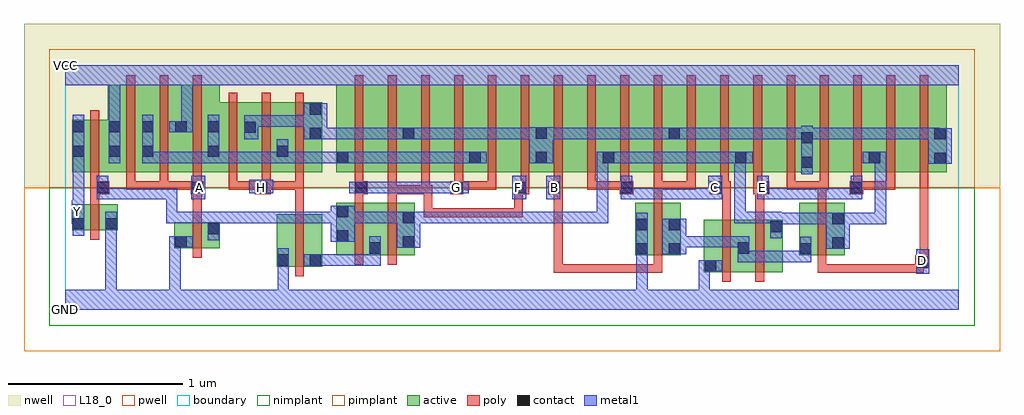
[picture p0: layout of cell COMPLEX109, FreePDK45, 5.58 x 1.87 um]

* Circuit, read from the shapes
.subckt COMPLEX109 A B C D E F G GND H VCC Y
M1 GND n1 Y VSUBS nfet w=0.15u l=0.05u
M2 n1 A GND VSUBS nfet w=0.15u l=0.05u
M3 n2 H GND VSUBS nfet w=0.3u l=0.05u
M4 n2 G n1 VSUBS nfet w=0.3u l=0.05u
M5 n1 F n2 VSUBS nfet w=0.3u l=0.05u
M6 n3 B GND VSUBS nfet w=0.3u l=0.05u
M7 n3 C GND VSUBS nfet w=0.3u l=0.05u
M8 n1 E n3 VSUBS nfet w=0.3u l=0.05u
M9 n1 D n3 VSUBS nfet w=0.3u l=0.05u
M10 VCC n1 Y n4 pfet w=0.3u l=0.05u
M11 n5 A VCC n4 pfet w=0.5u l=0.05u m=3
M12 n6 H n5 n4 pfet w=0.4u l=0.05u m=3
M13 n7 G n5 n4 pfet w=0.5u l=0.05u
M14 n6 F n7 n4 pfet w=0.5u l=0.05u
M15 n8 F n6 n4 pfet w=0.5u l=0.05u
M16 n5 G n8 n4 pfet w=0.5u l=0.05u
M17 n9 G n5 n4 pfet w=0.5u l=0.05u
M18 n6 F n9 n4 pfet w=0.5u l=0.05u
M19 n10 B n6 n4 pfet w=0.5u l=0.05u
M20 n1 C n10 n4 pfet w=0.5u l=0.05u
M21 n11 C n1 n4 pfet w=0.5u l=0.05u
M22 n6 B n11 n4 pfet w=0.5u l=0.05u
M23 n12 B n6 n4 pfet w=0.5u l=0.05u
M24 n1 C n12 n4 pfet w=0.5u l=0.05u
M25 n13 E n1 n4 pfet w=0.5u l=0.05u
M26 n6 D n13 n4 pfet w=0.5u l=0.05u
M27 n14 D n6 n4 pfet w=0.5u l=0.05u
M28 n1 E n14 n4 pfet w=0.5u l=0.05u
M29 n15 E n1 n4 pfet w=0.5u l=0.05u
M30 n6 D n15 n4 pfet w=0.5u l=0.05u
.ends

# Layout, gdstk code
import gdstk
lib = gdstk.Library(unit=1e-6, precision=1e-09)
def R(c, l, rs):  # rectangles x0, y0, x1, y1
    for r in rs: c.add(gdstk.rectangle(r[:2], r[2:], *l))
def A(c, l, x, y, w, h, nx, ny, dx, dy):  # array of equal rectangles
    R(c, l, [(x+i*dx, y+j*dy, x+i*dx+w, y+j*dy+h) for i in range(nx) for j in range(ny)])
active = (1, 0)
pwell = (2, 0)
nwell = (3, 0)
nimplant = (4, 0)
pimplant = (5, 0)
poly = (9, 0)
contact = (10, 0)
metal1 = (11, 0)
L18_0 = (18, 0)
boundary = (235, 0)

complex109 = lib.new_cell('COMPLEX109')
A(complex109, active, 1.775, 0.787, 0.225, 0.5, 3, 1, 0.38, 0)
A(complex109, active, 1.925, 0.787, 0.075, 0.413, 3, 1, 0.76, 0)
A(complex109, active, 1.925, 0.787, 0.23, 0.5, 3, 1, 0.38, 0)
A(complex109, active, 3.295, 0.787, 0.225, 0.5, 3, 1, 0.38, 0)
A(complex109, active, 3.445, 0.787, 0.23, 0.5, 3, 1, 0.38, 0)
R(complex109, active, [(3.652,0.215,3.917,0.515), (3.652,0.215,3.727,0.45), (3.842,0.215,4.102,0.515), (1.21,0.247,1.47,0.547), (1.21,0.247,1.285,0.392), (1.395,0.247,1.47,0.547), (1.55,0.312,1.81,0.612), (1.735,0.312,1.81,0.497), (1.735,0.312,2,0.612), (1.925,0.312,2,0.612), (3.26,0.312,3.52,0.612), (3.26,0.312,3.335,0.612), (3.445,0.312,3.52,0.612), (3.842,0.312,3.917,0.427), (4.197,0.312,4.457,0.612), (4.197,0.312,4.272,0.612), (1.55,0.33,1.625,0.612), (4.027,0.33,4.102,0.515), (4.382,0.337,4.457,0.612), (0.625,0.352,0.885,0.502), (0.625,0.352,0.7,0.502), (0.81,0.407,0.885,0.502), (0.04,0.455,0.3,0.605), (0.04,0.455,0.115,0.605), (0.225,0.455,0.3,0.605), (0.04,0.787,0.115,1.087), (0.04,0.787,0.32,1.087), (0.245,0.787,0.51,1.287), (0.245,0.787,0.32,1.287), (0.435,0.787,0.51,1.2), (0.435,0.787,0.7,1.287), (0.625,0.787,0.885,1.287), (0.81,0.787,0.885,1.2), (0.81,0.787,1.095,1.187), (1.02,0.787,1.28,1.187), (1.205,0.787,1.28,1.07), (1.205,0.787,1.47,1.187), (1.395,0.787,1.47,1.187), (1.55,0.787,1.775,1.287), (1.55,0.787,1.655,1.07), (2.305,0.787,2.38,1.07), (2.915,0.787,3.145,1.287), (3.07,0.787,3.295,1.287), (3.07,0.787,3.145,1.07), (4.435,0.787,4.665,1.287), (4.59,0.787,4.815,1.287), (4.59,0.787,4.665,1.07), (4.815,0.787,5.04,1.287), (4.965,0.787,5.04,1.2), (1.02,0.797,1.095,1.155), (0.625,0.807,0.7,1.287), (3.825,0.807,3.9,1.07), (4.205,0.807,4.28,1.2)])
R(complex109, pwell, [(-0.235,-0.235,5.345,0.7)])
R(complex109, nwell, [(-0.235,0.7,5.345,1.635)])
R(complex109, nimplant, [(-0.09,-0.09,5.2,0.7)])
R(complex109, pimplant, [(-0.09,0.7,5.2,1.49)])
A(complex109, poly, 0.35, 0.687, 0.05, 0.095, 3, 1, 0.19, 0)
A(complex109, poly, 0.935, 0.687, 0.05, 0.095, 3, 1, 0.19, 0)
A(complex109, poly, 2.225, 0.687, 0.05, 0.095, 14, 1, 0.19, 0)
A(complex109, poly, 0.35, 0.732, 0.05, 0.61, 3, 1, 0.19, 0)
A(complex109, poly, 0.935, 0.732, 0.05, 0.51, 3, 1, 0.19, 0)
A(complex109, poly, 1.655, 0.732, 0.05, 0.61, 18, 1, 0.19, 0)
R(complex109, poly, [(3.757,0.16,3.807,0.57), (3.947,0.16,3.997,0.57), (1.315,0.192,1.365,0.602), (2.795,0.212,2.845,0.262), (2.795,0.212,2.845,0.262), (2.795,0.212,2.845,0.262), (2.795,0.212,2.845,0.262), (2.795,0.212,2.845,0.262), (2.795,0.212,2.977,0.262), (2.795,0.212,2.845,0.712), (2.927,0.212,2.977,0.262), (2.927,0.212,2.977,0.262), (2.927,0.212,2.977,0.262), (2.927,0.212,3.21,0.262), (3.16,0.212,3.21,0.262), (3.16,0.212,3.21,0.262), (3.16,0.212,3.21,0.262), (3.16,0.212,3.415,0.262), (3.365,0.212,3.415,0.262), (3.365,0.212,3.415,0.262), (3.365,0.212,3.415,0.262), (3.365,0.212,3.415,0.307), (4.302,0.212,4.352,0.262), (4.302,0.212,4.352,0.262), (4.302,0.212,4.352,0.262), (4.302,0.212,4.352,0.307), (4.302,0.212,4.497,0.262), (4.447,0.212,4.497,0.262), (4.447,0.212,4.497,0.262), (4.447,0.212,4.497,0.262), (4.447,0.212,4.497,0.262), (4.447,0.212,4.497,0.262), (4.447,0.212,4.695,0.262), (4.645,0.212,4.695,0.262), (4.645,0.212,4.695,0.262), (4.645,0.212,4.695,0.262), (4.645,0.212,4.91,0.262), (4.86,0.212,4.91,0.287), (4.86,0.212,4.91,0.262), (4.86,0.212,4.91,0.262), (4.86,0.212,4.91,0.262), (4.86,0.212,4.91,0.262), (4.86,0.212,4.91,0.262), (4.86,0.237,4.935,0.312), (1.655,0.257,1.705,0.667), (1.845,0.257,1.895,0.667), (3.365,0.257,3.415,0.667), (4.302,0.257,4.352,0.667), (4.885,0.262,4.935,0.782), (0.73,0.297,0.78,0.557), (0.145,0.4,0.195,0.66), (0.73,0.507,0.78,0.712), (3.757,0.52,3.807,0.712), (3.947,0.52,3.997,0.712), (2.05,0.53,2.1,0.58), (2.05,0.53,2.1,0.58), (2.05,0.53,2.1,0.58), (2.05,0.53,2.1,0.58), (2.05,0.53,2.1,0.58), (2.05,0.53,2.1,0.712), (2.05,0.53,2.332,0.58), (2.282,0.53,2.332,0.58), (2.282,0.53,2.332,0.58), (2.282,0.53,2.332,0.58), (2.282,0.53,2.465,0.58), (2.415,0.53,2.465,0.58), (2.415,0.53,2.465,0.58), (2.415,0.53,2.465,0.58), (2.415,0.53,2.615,0.58), (2.565,0.53,2.615,0.58), (2.565,0.53,2.615,0.58), (2.565,0.53,2.617,0.58), (2.567,0.53,2.617,0.712), (1.315,0.552,1.365,0.737), (0.145,0.61,0.195,0.712), (1.655,0.617,1.705,0.712), (1.845,0.617,1.895,0.712), (3.365,0.617,3.415,0.737), (4.302,0.617,4.352,0.737), (0.145,0.662,0.252,0.737), (0.717,0.662,0.792,0.737), (1.085,0.662,1.177,0.737), (1.655,0.662,1.73,0.737), (1.845,0.662,1.895,0.712), (1.845,0.662,1.895,0.712), (1.845,0.662,1.895,0.712), (1.845,0.662,1.895,0.782), (1.845,0.662,2.085,0.712), (2.035,0.662,2.085,0.782), (2.035,0.662,2.1,0.712), (2.202,0.662,2.277,0.737), (2.567,0.662,2.655,0.737), (2.762,0.662,2.845,0.737), (2.795,0.662,2.845,0.712), (2.795,0.662,2.845,0.712), (3.172,0.662,3.247,0.737), (3.687,0.662,3.807,0.737), (3.935,0.662,4.027,0.737), (4.487,0.662,4.562,0.737), (0.145,0.687,0.195,0.782), (0.35,0.687,0.4,0.737), (0.35,0.687,0.4,0.737), (0.35,0.687,0.4,0.737), (0.35,0.687,0.59,0.737), (0.54,0.687,0.59,0.737), (0.54,0.687,0.59,0.737), (0.54,0.687,0.59,0.737), (0.54,0.687,0.767,0.737), (0.935,0.687,0.985,0.737), (0.935,0.687,0.985,0.737), (0.935,0.687,0.985,0.737), (0.935,0.687,1.135,0.737), (1.127,0.687,1.177,0.737), (1.127,0.687,1.177,0.737), (1.127,0.687,1.365,0.737), (1.315,0.687,1.365,0.737), (1.655,0.687,1.705,0.782), (2.227,0.687,2.277,0.737), (2.227,0.687,2.277,0.737), (2.227,0.687,2.465,0.737), (2.415,0.687,2.465,0.737), (2.985,0.687,3.035,0.737), (2.985,0.687,3.222,0.737), (3.172,0.687,3.222,0.737), (3.172,0.687,3.222,0.737), (3.365,0.687,3.415,0.737), (3.365,0.687,3.605,0.737), (3.555,0.687,3.605,0.737), (3.555,0.687,3.605,0.737), (3.555,0.687,3.605,0.737), (4.125,0.687,4.175,0.737), (4.125,0.687,4.175,0.737), (4.125,0.687,4.175,0.737), (4.125,0.687,4.352,0.737), (4.302,0.687,4.365,0.737), (4.512,0.687,4.745,0.737), (4.695,0.687,4.745,0.737), (4.695,0.687,4.745,0.737), (4.695,0.687,4.745,0.737), (0.145,0.732,0.195,1.142)])
A(complex109, contact, 0.25, 1.015, 0.065, 0.065, 3, 1, 0.19, 0)
R(complex109, contact, [(3.657,0.22,3.722,0.285), (4.865,0.242,4.93,0.307), (1.215,0.252,1.28,0.317), (1.4,0.252,1.465,0.317), (3.265,0.317,3.33,0.382), (3.45,0.317,3.515,0.382), (4.202,0.317,4.267,0.382), (1.74,0.322,1.805,0.387), (3.847,0.322,3.912,0.387), (4.387,0.35,4.452,0.415), (1.93,0.355,1.995,0.42), (0.63,0.357,0.695,0.422), (1.555,0.39,1.62,0.455), (0.815,0.432,0.88,0.497), (4.032,0.445,4.097,0.51), (3.265,0.457,3.33,0.522), (3.45,0.457,3.515,0.522), (0.045,0.46,0.11,0.525), (0.23,0.46,0.295,0.525), (4.387,0.49,4.452,0.555), (1.93,0.495,1.995,0.56), (1.555,0.53,1.62,0.595), (0.182,0.667,0.247,0.732), (0.722,0.667,0.787,0.732), (1.09,0.667,1.155,0.732), (1.66,0.667,1.725,0.732), (2.207,0.667,2.272,0.732), (2.572,0.667,2.637,0.732), (2.767,0.667,2.832,0.732), (3.177,0.667,3.242,0.732), (3.692,0.667,3.757,0.732), (3.957,0.667,4.022,0.732), (4.492,0.667,4.557,0.732), (4.21,0.812,4.275,0.877), (4.97,0.835,5.035,0.9), (1.555,0.84,1.62,0.905), (2.31,0.84,2.375,0.905), (2.69,0.84,2.755,0.905), (3.075,0.84,3.14,0.905), (3.83,0.84,3.895,0.905), (4.595,0.84,4.66,0.905), (0.045,0.875,0.11,0.94), (0.25,0.875,0.315,0.94), (0.44,0.875,0.505,0.94), (0.815,0.875,0.88,0.94), (1.21,0.875,1.275,0.94), (4.21,0.952,4.275,1.017), (4.97,0.975,5.035,1.04), (1.4,0.977,1.465,1.042), (1.93,0.977,1.995,1.042), (3.45,0.977,3.515,1.042), (2.69,0.98,2.755,1.045), (1.025,1.012,1.09,1.077), (0.045,1.015,0.11,1.08), (0.815,1.015,0.88,1.08), (1.4,1.117,1.465,1.182)])
A(complex109, metal1, 1.04, 0.495, 0.202, 0.065, 3, 1, 0.275, 0)
R(complex109, metal1, [(0,0,5.11,0.115), (0.23,0.05,0.295,0.115), (0.23,0.05,0.295,0.115), (0.23,0.05,0.295,0.49), (0.595,0.05,0.66,0.115), (0.595,0.05,0.66,0.115), (0.595,0.05,0.66,0.422), (1.215,0.05,1.28,0.115), (1.215,0.05,1.28,0.115), (1.215,0.05,1.28,0.115), (1.215,0.05,1.28,0.115), (1.215,0.05,1.28,0.282), (3.265,0.05,3.33,0.115), (3.265,0.05,3.33,0.115), (3.265,0.05,3.33,0.115), (3.265,0.05,3.33,0.115), (3.265,0.05,3.33,0.347), (3.622,0.05,3.687,0.115), (3.622,0.05,3.687,0.115), (3.622,0.05,3.687,0.285), (4.865,0.207,4.94,0.347), (1.215,0.217,1.28,0.352), (3.622,0.22,3.687,0.285), (3.622,0.22,3.687,0.285), (3.622,0.22,3.757,0.285), (1.365,0.252,1.5,0.317), (1.435,0.252,1.517,0.317), (1.452,0.252,1.517,0.317), (1.452,0.252,1.805,0.317), (1.74,0.252,1.805,0.352), (3.847,0.272,3.912,0.422), (3.847,0.272,4.05,0.337), (3.985,0.272,4.05,0.337), (3.985,0.272,4.05,0.337), (3.985,0.272,4.05,0.337), (3.985,0.272,4.267,0.337), (4.202,0.272,4.267,0.347), (3.265,0.282,3.33,0.557), (4.202,0.282,4.267,0.347), (4.202,0.282,4.267,0.417), (1.74,0.287,1.805,0.352), (1.74,0.287,1.805,0.422), (3.415,0.317,3.55,0.522), (4.352,0.35,4.487,0.555), (1.895,0.355,2.03,0.56), (0.595,0.357,0.66,0.422), (0.595,0.357,0.66,0.422), (0.595,0.357,0.66,0.422), (0.595,0.357,0.66,0.422), (0.595,0.357,0.73,0.422), (3.485,0.357,3.55,0.422), (3.485,0.357,3.55,0.422), (3.485,0.357,3.687,0.422), (3.622,0.357,3.687,0.422), (3.622,0.357,3.687,0.422), (3.622,0.357,3.687,0.422), (3.622,0.357,3.912,0.422), (1.52,0.39,1.655,0.595), (0.815,0.397,0.88,0.56), (4.032,0.41,4.097,0.56), (0.045,0.425,0.11,0.56), (0.23,0.425,0.295,0.49), (0.23,0.425,0.295,0.49), (0.23,0.425,0.295,0.49), (0.23,0.425,0.295,0.49), (0.23,0.425,0.295,0.56), (4.032,0.49,4.275,0.555), (4.21,0.49,4.275,0.555), (4.21,0.49,4.275,0.555), (4.21,0.49,4.275,0.555), (4.21,0.49,4.417,0.555), (4.352,0.49,4.417,0.555), (4.352,0.49,4.417,0.555), (4.422,0.49,4.555,0.555), (4.49,0.49,4.555,0.555), (4.49,0.49,4.695,0.555), (4.63,0.49,4.695,0.555), (4.63,0.49,4.695,0.555), (4.63,0.49,4.695,0.555), (4.63,0.49,4.695,0.905), (0.037,0.492,0.11,0.627), (0.045,0.495,0.11,0.56), (0.577,0.495,0.642,0.56), (0.577,0.495,0.83,0.56), (0.577,0.495,0.642,0.697), (0.765,0.495,0.83,0.56), (0.765,0.495,0.88,0.56), (0.815,0.495,0.967,0.56), (0.902,0.495,0.967,0.56), (0.902,0.495,1.105,0.56), (1.04,0.495,1.105,0.56), (1.177,0.495,1.242,0.56), (1.177,0.495,1.242,0.56), (1.177,0.495,1.242,0.56), (1.177,0.495,1.38,0.56), (1.315,0.495,1.38,0.56), (1.452,0.495,1.517,0.56), (1.452,0.495,1.585,0.56), (1.59,0.495,1.655,0.56), (1.59,0.495,1.655,0.56), (1.727,0.495,1.792,0.56), (1.727,0.495,1.96,0.56), (1.895,0.495,1.96,0.56), (1.895,0.495,1.96,0.56), (1.965,0.495,2.1,0.56), (2.035,0.495,2.1,0.56), (2.035,0.495,2.167,0.56), (2.102,0.495,2.167,0.56), (2.102,0.495,2.347,0.56), (2.282,0.495,2.347,0.56), (2.282,0.495,2.347,0.56), (2.282,0.495,2.347,0.56), (2.282,0.495,2.485,0.56), (2.42,0.495,2.485,0.56), (2.42,0.495,2.485,0.56), (2.42,0.495,2.485,0.56), (2.42,0.495,2.622,0.56), (2.557,0.495,2.622,0.56), (2.557,0.495,2.83,0.56), (2.765,0.495,2.83,0.56), (2.765,0.495,2.83,0.56), (2.765,0.495,2.83,0.56), (2.765,0.495,2.967,0.56), (2.902,0.495,2.967,0.56), (2.902,0.495,2.967,0.56), (2.902,0.495,2.967,0.56), (2.902,0.495,3.105,0.56), (3.04,0.495,3.105,0.56), (3.04,0.495,3.105,0.56), (3.04,0.495,3.105,0.56), (3.04,0.495,3.105,0.905), (3.825,0.495,3.89,0.56), (3.825,0.495,4.097,0.56), (3.825,0.495,3.89,0.905), (4.032,0.495,4.097,0.56), (4.032,0.495,4.097,0.56), (0.045,0.562,0.11,0.905), (0.182,0.632,0.247,0.697), (0.182,0.632,0.247,0.697), (0.182,0.632,0.247,0.767), (0.182,0.632,0.432,0.697), (0.367,0.632,0.432,0.697), (0.367,0.632,0.432,0.697), (0.367,0.632,0.432,0.697), (0.367,0.632,0.642,0.697), (0.577,0.632,0.642,0.697), (0.577,0.632,0.642,0.697), (0.577,0.632,0.642,0.697), (0.722,0.632,0.802,0.767), (2.557,0.632,2.637,0.767), (2.752,0.632,2.832,0.767), (3.177,0.632,3.242,0.767), (3.177,0.632,3.33,0.697), (3.265,0.632,3.33,0.697), (3.265,0.632,3.38,0.697), (3.315,0.632,3.38,0.697), (3.315,0.632,3.55,0.697), (3.485,0.632,3.55,0.697), (3.485,0.632,3.55,0.697), (3.485,0.632,3.55,0.697), (3.485,0.632,3.687,0.697), (3.622,0.632,3.687,0.697), (3.622,0.632,3.742,0.697), (3.677,0.632,3.757,0.767), (3.957,0.632,4.022,0.767), (3.957,0.632,4.13,0.697), (4.065,0.632,4.13,0.697), (4.065,0.632,4.275,0.697), (4.21,0.632,4.275,0.697), (4.21,0.632,4.275,0.697), (4.21,0.632,4.275,0.697), (4.21,0.632,4.412,0.697), (4.347,0.632,4.412,0.697), (4.347,0.632,4.412,0.697), (4.347,0.632,4.412,0.697), (4.347,0.632,4.557,0.697), (4.492,0.632,4.557,0.767), (1.052,0.667,1.19,0.745), (1.625,0.667,1.76,0.732), (1.695,0.667,1.805,0.732), (1.74,0.667,1.805,0.732), (1.74,0.667,1.942,0.732), (1.877,0.667,1.942,0.732), (1.877,0.667,1.942,0.732), (1.877,0.667,1.942,0.732), (1.877,0.667,2.1,0.732), (2.035,0.667,2.1,0.732), (2.035,0.667,2.167,0.732), (2.102,0.667,2.167,0.732), (2.102,0.667,2.237,0.732), (2.172,0.667,2.307,0.732), (4.21,0.777,4.275,1.052), (4.935,0.835,5.07,1.04), (0.045,0.84,0.11,1.115), (0.25,0.84,0.315,1.115), (0.44,0.84,0.642,0.905), (0.44,0.84,0.505,1.115), (0.577,0.84,0.642,0.905), (0.577,0.84,0.642,0.905), (0.577,0.84,0.642,0.905), (0.577,0.84,0.83,0.905), (0.765,0.84,0.83,0.905), (0.765,0.84,0.88,0.905), (0.815,0.84,0.88,1.115), (0.815,0.84,0.967,0.905), (0.902,0.84,0.967,0.905), (0.902,0.84,1.105,0.905), (1.04,0.84,1.105,0.905), (1.04,0.84,1.105,0.905), (1.04,0.84,1.105,0.905), (1.04,0.84,1.275,0.905), (1.21,0.84,1.275,0.975), (1.21,0.84,1.38,0.905), (1.315,0.84,1.38,0.905), (1.315,0.84,1.417,0.905), (1.352,0.84,1.417,0.905), (1.352,0.84,1.585,0.905), (1.52,0.84,1.655,0.905), (1.59,0.84,1.655,0.905), (1.59,0.84,1.655,0.905), (1.59,0.84,1.805,0.905), (1.74,0.84,1.805,0.905), (1.74,0.84,1.942,0.905), (1.877,0.84,1.942,0.905), (1.877,0.84,1.942,0.905), (1.877,0.84,1.942,0.905), (1.877,0.84,2.1,0.905), (2.035,0.84,2.1,0.905), (2.035,0.84,2.167,0.905), (2.102,0.84,2.167,0.905), (2.102,0.84,2.34,0.905), (2.275,0.84,2.34,0.905), (2.275,0.84,2.34,0.905), (2.275,0.84,2.41,0.905), (2.655,0.84,2.79,1.045), (3.04,0.84,3.175,0.905), (3.11,0.84,3.242,0.905), (3.177,0.84,3.242,0.905), (3.177,0.84,3.33,0.905), (3.265,0.84,3.33,0.905), (3.265,0.84,3.38,0.905), (3.315,0.84,3.38,0.905), (3.315,0.84,3.55,0.905), (3.485,0.84,3.55,0.905), (3.485,0.84,3.55,0.905), (3.485,0.84,3.55,0.905), (3.485,0.84,3.687,0.905), (3.622,0.84,3.687,0.905), (3.622,0.84,3.86,0.905), (3.795,0.84,3.86,0.905), (3.795,0.84,3.86,0.905), (3.795,0.84,3.93,0.905), (3.825,0.84,3.89,0.905), (3.825,0.84,3.89,0.905), (4.56,0.84,4.695,0.905), (4.935,0.975,5,1.04), (4.935,0.975,5,1.042), (1.025,0.977,1.105,1.112), (1.365,0.977,1.5,1.182), (1.435,0.977,1.655,1.042), (1.59,0.977,1.655,1.042), (1.59,0.977,1.792,1.042), (1.727,0.977,1.792,1.042), (1.727,0.977,1.792,1.042), (1.727,0.977,1.792,1.042), (1.727,0.977,1.96,1.042), (1.895,0.977,1.96,1.042), (1.895,0.977,1.96,1.042), (1.895,0.977,2.03,1.042), (1.965,0.977,2.1,1.042), (2.035,0.977,2.1,1.042), (2.035,0.977,2.167,1.042), (2.102,0.977,2.167,1.042), (2.102,0.977,2.305,1.042), (2.24,0.977,2.305,1.042), (2.24,0.977,2.305,1.042), (2.24,0.977,2.305,1.042), (2.24,0.977,2.485,1.042), (2.42,0.977,2.485,1.042), (2.42,0.977,2.485,1.042), (2.42,0.977,2.485,1.042), (2.42,0.977,2.622,1.042), (2.557,0.977,2.622,1.042), (2.557,0.977,2.72,1.042), (2.725,0.977,2.79,1.042), (2.725,0.977,2.79,1.042), (2.725,0.977,2.967,1.042), (2.902,0.977,2.967,1.042), (2.902,0.977,3.105,1.042), (3.04,0.977,3.105,1.042), (3.04,0.977,3.105,1.042), (3.04,0.977,3.105,1.042), (3.04,0.977,3.242,1.042), (3.177,0.977,3.242,1.042), (3.177,0.977,3.33,1.042), (3.265,0.977,3.33,1.042), (3.265,0.977,3.38,1.042), (3.315,0.977,3.38,1.042), (3.315,0.977,3.48,1.042), (3.415,0.977,3.55,1.042), (3.485,0.977,3.55,1.042), (3.485,0.977,3.55,1.042), (3.485,0.977,3.687,1.042), (3.622,0.977,3.687,1.042), (3.622,0.977,3.825,1.042), (3.76,0.977,3.825,1.042), (3.76,0.977,3.825,1.042), (3.76,0.977,3.825,1.042), (3.76,0.977,4.05,1.042), (3.985,0.977,4.05,1.042), (3.985,0.977,4.05,1.042), (3.985,0.977,4.05,1.042), (3.985,0.977,4.275,1.042), (4.21,0.977,4.275,1.042), (4.21,0.977,4.275,1.042), (4.21,0.977,4.417,1.042), (4.352,0.977,4.417,1.042), (4.352,0.977,4.417,1.042), (4.352,0.977,4.417,1.042), (4.352,0.977,4.655,1.042), (4.59,0.977,4.655,1.042), (4.59,0.977,4.655,1.042), (4.59,0.977,4.655,1.042), (4.59,0.977,4.792,1.042), (4.727,0.977,4.792,1.042), (4.727,0.977,4.792,1.042), (4.727,0.977,4.792,1.042), (4.727,0.977,5,1.042), (0.595,1.015,0.73,1.08), (0.665,1.015,0.73,1.35), (1.04,1.047,1.105,1.112), (1.04,1.047,1.105,1.112), (1.04,1.047,1.28,1.112), (1.215,1.047,1.28,1.112), (1.215,1.047,1.38,1.112), (1.315,1.047,1.38,1.112), (1.315,1.047,1.43,1.112), (0.25,1.05,0.315,1.35), (0,1.285,5.11,1.4)])
R(complex109, L18_0, [(0,0,5.11,0.115), (0.23,0.05,0.295,0.115), (0.23,0.05,0.295,0.115), (0.23,0.05,0.295,0.49), (0.595,0.05,0.66,0.115), (0.595,0.05,0.66,0.115), (0.595,0.05,0.66,0.422), (1.215,0.05,1.28,0.115), (1.215,0.05,1.28,0.115), (1.215,0.05,1.28,0.115), (1.215,0.05,1.28,0.115), (1.215,0.05,1.28,0.282), (3.265,0.05,3.33,0.115), (3.265,0.05,3.33,0.115), (3.265,0.05,3.33,0.115), (3.265,0.05,3.33,0.115), (3.265,0.05,3.33,0.347), (3.622,0.05,3.687,0.115), (3.622,0.05,3.687,0.115), (3.622,0.05,3.687,0.285), (4.865,0.207,4.94,0.347), (1.215,0.217,1.28,0.352), (3.622,0.22,3.687,0.285), (3.622,0.22,3.687,0.285), (3.622,0.22,3.757,0.285), (4.867,0.247,4.932,0.312), (3.265,0.282,3.33,0.557), (0.595,0.357,0.66,0.422), (0.595,0.357,0.66,0.422), (0.595,0.357,0.66,0.422), (0.595,0.357,0.66,0.422), (0.595,0.357,0.73,0.422), (0.045,0.425,0.11,0.56), (0.23,0.425,0.295,0.56), (0.23,0.425,0.295,0.49), (0.23,0.425,0.295,0.49), (0.23,0.425,0.295,0.49), (0.23,0.425,0.295,0.49), (0.037,0.492,0.11,0.627), (0.045,0.495,0.11,0.56), (0.037,0.527,0.102,0.592), (0.045,0.562,0.11,0.905), (0.722,0.632,0.802,0.767), (2.557,0.632,2.637,0.767), (2.752,0.632,2.832,0.767), (3.177,0.632,3.242,0.767), (3.177,0.632,3.33,0.697), (3.265,0.632,3.33,0.697), (3.265,0.632,3.38,0.697), (3.315,0.632,3.38,0.697), (3.315,0.632,3.55,0.697), (3.485,0.632,3.55,0.697), (3.485,0.632,3.55,0.697), (3.485,0.632,3.55,0.697), (3.485,0.632,3.687,0.697), (3.622,0.632,3.687,0.697), (3.622,0.632,3.742,0.697), (3.677,0.632,3.757,0.767), (3.957,0.632,4.022,0.767), (3.957,0.632,4.13,0.697), (4.065,0.632,4.13,0.697), (4.065,0.632,4.275,0.697), (4.21,0.632,4.275,0.697), (4.21,0.632,4.275,0.697), (4.21,0.632,4.275,0.697), (4.21,0.632,4.412,0.697), (4.347,0.632,4.412,0.697), (4.347,0.632,4.412,0.697), (4.347,0.632,4.412,0.697), (4.347,0.632,4.557,0.697), (4.492,0.632,4.557,0.767), (0.737,0.667,0.802,0.732), (1.052,0.667,1.19,0.745), (1.087,0.667,1.152,0.732), (1.625,0.667,1.76,0.732), (1.695,0.667,1.805,0.732), (1.74,0.667,1.805,0.732), (1.74,0.667,1.942,0.732), (1.877,0.667,1.942,0.732), (1.877,0.667,1.942,0.732), (1.877,0.667,1.942,0.732), (1.877,0.667,2.1,0.732), (2.035,0.667,2.1,0.732), (2.035,0.667,2.167,0.732), (2.102,0.667,2.167,0.732), (2.102,0.667,2.237,0.732), (2.172,0.667,2.307,0.732), (2.207,0.667,2.272,0.732), (2.557,0.667,2.622,0.732), (2.767,0.667,2.832,0.732), (3.677,0.667,3.742,0.732), (3.957,0.667,4.022,0.732), (0.045,0.84,0.11,1.115), (0.25,0.84,0.315,1.115), (0.595,1.015,0.73,1.08), (0.665,1.015,0.73,1.35), (0.25,1.05,0.315,1.35), (0,1.285,5.11,1.4)])
R(complex109, boundary, [(0,0,5.11,1.4)])
complex109.add(gdstk.Label('A', (0.77,0.7), layer=11, texttype=0))
complex109.add(gdstk.Label('B', (2.8,0.7), layer=11, texttype=0))
complex109.add(gdstk.Label('C', (3.71,0.7), layer=11, texttype=0))
complex109.add(gdstk.Label('D', (4.9,0.28), layer=11, texttype=0))
complex109.add(gdstk.Label('E', (3.99,0.7), layer=11, texttype=0))
complex109.add(gdstk.Label('F', (2.59,0.7), layer=11, texttype=0))
complex109.add(gdstk.Label('G', (2.24,0.7), layer=11, texttype=0))
complex109.add(gdstk.Label('H', (1.12,0.7), layer=11, texttype=0))
complex109.add(gdstk.Label('Y', (0.07,0.56), layer=11, texttype=0))
complex109.add(gdstk.Label('VCC', (0,1.4), layer=11, texttype=0))
complex109.add(gdstk.Label('GND', (0,0), layer=11, texttype=0))

lib.write_gds('COMPLEX109.gds')
